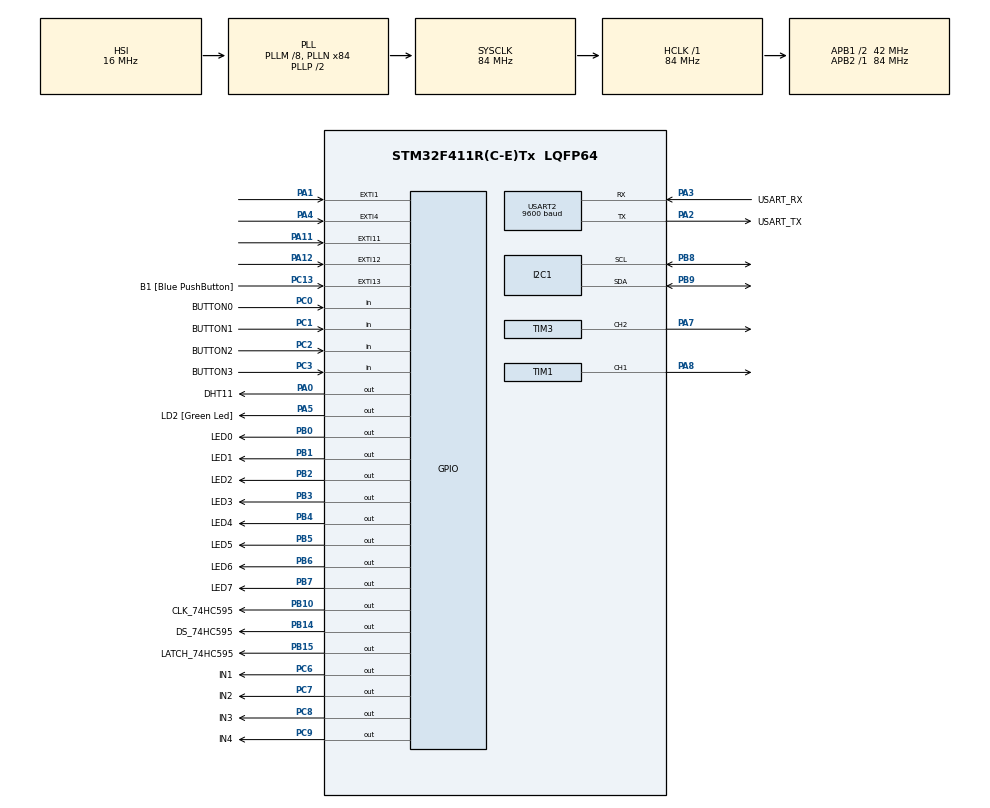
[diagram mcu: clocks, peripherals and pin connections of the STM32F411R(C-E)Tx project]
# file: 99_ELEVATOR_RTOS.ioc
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FREERTOS.Mutexes01=myMutex01,Dynamic,NULL
FREERTOS.Tasks01=defaultTask,24,128,StartDefaultTask,Default,NULL,Dynamic,NULL,NULL;myTask01,8,128,StartTask01,Default,NULL,Dynamic,NULL,NULL;myTask02,8,128,StartTask02,Default,NULL,Dynamic,NULL,NULL
FREERTOS.configUSE_NEWLIB_REENTRANT=1
Mcu.Family=STM32F4
Mcu.Name=STM32F411R(C-E)Tx
Mcu.Package=LQFP64
NVIC.EXTI15_10_IRQn=true\:5\:0\:false\:false\:true\:true\:true\:true
NVIC.EXTI1_IRQn=true\:5\:0\:false\:false\:true\:true\:true\:true
NVIC.EXTI4_IRQn=true\:5\:0\:false\:false\:true\:true\:true\:true
NVIC.PriorityGroup=NVIC_PRIORITYGROUP_4
NVIC.TIM1_TRG_COM_TIM11_IRQn=true\:5\:0\:false\:false\:true\:false\:false\:true
NVIC.TIM1_UP_TIM10_IRQn=true\:5\:0\:false\:false\:true\:true\:true\:true
NVIC.TimeBase=TIM1_TRG_COM_TIM11_IRQn
NVIC.TimeBaseIP=TIM11
NVIC.USART2_IRQn=true\:5\:0\:false\:false\:true\:true\:true\:true
PA0-WKUP.GPIO_Label=DHT11
PA0-WKUP.Signal=GPIO_Output
PA1.Signal=GPXTI1
PA11.Signal=GPXTI11
PA12.Signal=GPXTI12
PA13.GPIO_Label=TMS
PA13.Mode=Serial_Wire
PA13.Signal=SYS_JTMS-SWDIO
PA14.GPIO_Label=TCK
PA14.Mode=Serial_Wire
PA14.Signal=SYS_JTCK-SWCLK
PA2.GPIO_Label=USART_TX
PA2.Mode=Asynchronous
PA2.Signal=USART2_TX
PA3.GPIO_Label=USART_RX
PA3.Mode=Asynchronous
PA3.Signal=USART2_RX
PA4.Signal=GPXTI4
PA5.GPIO_Label=LD2 [Green Led]
PA5.Signal=GPIO_Output
PA7.Signal=S_TIM3_CH2
PA8.Signal=S_TIM1_CH1
PB0.GPIO_Label=LED0
PB0.Signal=GPIO_Output
PB1.GPIO_Label=LED1
PB1.Signal=GPIO_Output
PB10.GPIO_Label=CLK_74HC595
PB10.Signal=GPIO_Output
PB14.GPIO_Label=DS_74HC595
PB14.Signal=GPIO_Output
PB15.GPIO_Label=LATCH_74HC595
PB15.Signal=GPIO_Output
PB2.GPIO_Label=LED2
PB2.Signal=GPIO_Output
PB3.GPIO_Label=LED3
PB3.Signal=GPIO_Output
PB4.GPIO_Label=LED4
PB4.Signal=GPIO_Output
PB5.GPIO_Label=LED5
PB5.Signal=GPIO_Output
PB6.GPIO_Label=LED6
PB6.Signal=GPIO_Output
PB7.GPIO_Label=LED7
PB7.Signal=GPIO_Output
PB8.Mode=I2C
PB8.Signal=I2C1_SCL
PB9.Mode=I2C
PB9.Signal=I2C1_SDA
PC0.GPIO_Label=BUTTON0
PC0.Signal=GPIO_Input
PC1.GPIO_Label=BUTTON1
PC1.Signal=GPIO_Input
PC13-ANTI_TAMP.GPIO_Label=B1 [Blue PushButton]
PC13-ANTI_TAMP.GPIO_ModeDefaultEXTI=GPIO_MODE_IT_FALLING
PC13-ANTI_TAMP.Signal=GPXTI13
PC14-OSC32_IN.Mode=LSE-External-Oscillator
PC14-OSC32_IN.Signal=RCC_OSC32_IN
PC15-OSC32_OUT.Mode=LSE-External-Oscillator
PC15-OSC32_OUT.Signal=RCC_OSC32_OUT
PC2.GPIO_Label=BUTTON2
PC2.Signal=GPIO_Input
PC3.GPIO_Label=BUTTON3
PC3.Signal=GPIO_Input
PC6.GPIO_Label=IN1
PC6.Signal=GPIO_Output
PC7.GPIO_Label=IN2
PC7.Signal=GPIO_Output
PC8.GPIO_Label=IN3
PC8.Signal=GPIO_Output
PC9.GPIO_Label=IN4
PC9.Signal=GPIO_Output
PH0\ -\ OSC_IN.Mode=HSE-External-Clock-Source
PH0\ -\ OSC_IN.Signal=RCC_OSC_IN
PH1\ -\ OSC_OUT.Mode=HSE-External-Clock-Source
PH1\ -\ OSC_OUT.Signal=RCC_OSC_OUT
ProjectManager.HeapSize=0x200
ProjectManager.StackSize=0x400
ProjectManager.TargetToolchain=STM32CubeIDE
RCC.48MHZClocksFreq_Value=42000000
RCC.AHBFreq_Value=84000000
RCC.APB1CLKDivider=RCC_HCLK_DIV2
RCC.APB1Freq_Value=42000000
RCC.APB1TimFreq_Value=84000000
RCC.APB2Freq_Value=84000000
RCC.APB2TimFreq_Value=84000000
RCC.CortexFreq_Value=84000000
RCC.FLatency-AdvancedSettings=FLASH_LATENCY_2
RCC.HCLKFreq_Value=84000000
RCC.HSE_VALUE=8000000
RCC.HSI_VALUE=16000000
RCC.PLLM=8
RCC.PLLN=84
RCC.SYSCLKFreq_VALUE=84000000
RCC.SYSCLKSource=RCC_SYSCLKSOURCE_PLLCLK
RCC.VCOOutputFreq_Value=168000000
RTC.Date=8
RTC.Hours=14
RTC.Minutes=38
RTC.Month=RTC_MONTH_OCTOBER
RTC.WeekDay=RTC_WEEKDAY_TUESDAY
SH.S_TIM1_CH1.0=TIM1_CH1,PWM Generation1 CH1
SH.S_TIM3_CH2.0=TIM3_CH2,PWM Generation2 CH2
TIM1.Channel-PWM\ Generation1\ CH1=TIM_CHANNEL_1
TIM1.Period=400-1
TIM1.Prescaler=52.5-1
TIM1.Pulse-PWM\ Generation1\ CH1=200-1
TIM10.Period=1000-1
TIM10.Prescaler=84-1
TIM2.Prescaler=84-1
TIM3.Channel-PWM\ Generation2\ CH2=TIM_CHANNEL_2
TIM3.Period=1000-1
TIM3.Prescaler=1680-1
USART2.BaudRate=9600
USART2.VirtualMode=VM_ASYNC
VP_FREERTOS_VS_CMSIS_V2.Mode=CMSIS_V2
VP_RTC_VS_RTC_Activate.Mode=RTC_Enabled
VP_RTC_VS_RTC_Calendar.Mode=RTC_Calendar
VP_SYS_VS_tim11.Mode=TIM11
VP_TIM10_VS_ClockSourceINT.Mode=Enable_Timer
VP_TIM1_VS_ClockSourceINT.Mode=Internal
VP_TIM2_VS_ClockSourceINT.Mode=Internal
VP_TIM3_VS_ClockSourceINT.Mode=Internal
board=NUCLEO-F411RE

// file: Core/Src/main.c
/* USER CODE BEGIN Header */
/**
  ******************************************************************************
  * @file           : main.c
  * @brief          : Main program body
  ******************************************************************************
  * @attention
  *
  * <h2><center>&copy; Copyright (c) 2024 STMicroelectronics.
  * All rights reserved.</center></h2>
  *
  * This software component is licensed by ST under BSD 3-Clause license,
  * the "License"; You may not use this file except in compliance with the
  * License. You may obtain a copy of the License at:
  *                        opensource.org/licenses/BSD-3-Clause
  *
  ******************************************************************************
  */
/* USER CODE END Header */
#include "main.h"
#include "cmsis_os.h"

I2C_HandleTypeDef hi2c1;

RTC_HandleTypeDef hrtc;

TIM_HandleTypeDef htim1;
TIM_HandleTypeDef htim2;
TIM_HandleTypeDef htim3;
TIM_HandleTypeDef htim10;

UART_HandleTypeDef huart2;

/* Definitions for defaultTask */
osThreadId_t defaultTaskHandle;
const osThreadAttr_t defaultTask_attributes = {
  .name = "defaultTask",
  .stack_size = 128 * 4,
  .priority = (osPriority_t) osPriorityNormal,
};
/* Definitions for myTask01 */
osThreadId_t myTask01Handle;
const osThreadAttr_t myTask01_attributes = {
  .name = "myTask01",
  .stack_size = 128 * 4,
  .priority = (osPriority_t) osPriorityLow,
};
/* Definitions for myTask02 */
osThreadId_t myTask02Handle;
const osThreadAttr_t myTask02_attributes = {
  .name = "myTask02",
  .stack_size = 128 * 4,
  .priority = (osPriority_t) osPriorityLow,
};
/* Definitions for myMutex01 */
osMutexId_t myMutex01Handle;
const osMutexAttr_t myMutex01_attributes = {
  .name = "myMutex01"
};
/* USER CODE BEGIN PV */
volatile int TIM10_1ms_counter = 0;  // ADD_PSJ_0930
volatile int TIM10_1ms_counter1 = 0;
volatile int TIM10_elevator_counter = 0;
volatile int TIM10_servomotor_counter = 0;
uint8_t rx_data;
/* USER CODE END PV */

void SystemClock_Config(void);
static void MX_GPIO_Init(void);
static void MX_USART2_UART_Init(void);
static void MX_TIM10_Init(void);
static void MX_TIM2_Init(void);
static void MX_RTC_Init(void);
static void MX_I2C1_Init(void);
static void MX_TIM3_Init(void);
static void MX_TIM1_Init(void);
void StartDefaultTask(void *argument);
void StartTask01(void *argument);
void StartTask02(void *argument);

/* USER CODE BEGIN PFP */
extern void led_main(void);
extern void ledbar0_toggle(void);
extern void button_check(void);
extern void pc_command_processing(void);
extern void delay_us(unsigned int us);
//extern void DHT11_main(void);
extern void DHT11_processing(void);
extern void DHT11_Init(void);
extern void get_rtc_date_time(void);
//extern void i2c_lcd_main(void);
extern void i2c_lcd_init(void);
extern void dotmatrix_main_test();
extern int dotmatrix_main(void);
extern void init_dotmatrix(void);
extern int dotmatrix_main_func(void);
extern void init_arrow_up(void);
extern void init_arrow_down(void);
extern void arrow_display(void);
extern void stepmotor_main(void);
extern void stepmotor_forward(void);
extern void arrow_display_stepmotor(void);
extern void servomotor_main(void);
extern void servo_motor_control(void);
extern void buzzer_main();
extern void get_rtc_date(void);
extern void get_rtc_time(void);
extern void select_floor(void);
extern void init_floor_select(int size);
extern void elevator_door_control(void);
extern void close_the_door(void);
extern void lcd_floor(void);
extern void lcd_floor_check(void);
extern void i2c_test_code(void);
//extern void playSong();
/* USER CODE END PFP */

/* USER CODE BEGIN 0 */
//------------ printf start -----------------------
#ifdef __GNUC__    // Add for printf
/* With GCC, small printf (option LD Linker->Libraries->Small printf
   set to 'Yes') calls __io_putchar() */
#define PUTCHAR_PROTOTYPE int __io_putchar(int ch)
#else
#define PUTCHAR_PROTOTYPE int fputc(int ch, FILE *f)
#endif /* __GNUC__ */
/**
  * @brief  Retargets the C library printf function to the USART.
  * @param  None
  * @retval None
  */
PUTCHAR_PROTOTYPE   // Add for printf
{
  /* Place your implementation of fputc here */
  /* e.g. write a character to the USART2 and Loop until the end of transmission */
  HAL_UART_Transmit(&huart2, (uint8_t *)&ch, 1, 0xFFFF);

  return ch;
}
//-------------------- printf end --------------------
/* USER CODE END 0 */

int main(void)
{

  /* MCU Configuration--------------------------------------------------------*/

  /* Reset of all peripherals, Initializes the Flash interface and the Systick. */
  HAL_Init();

  /* Configure the system clock */
  SystemClock_Config();

  /* Initialize all configured peripherals */
  MX_GPIO_Init();
  MX_USART2_UART_Init();
  MX_TIM10_Init();
  MX_TIM2_Init();
  MX_RTC_Init();
  MX_I2C1_Init();
  MX_TIM3_Init();
  MX_TIM1_Init();
  /* USER CODE BEGIN 2 */
  HAL_TIM_Base_Start_IT(&htim10); // ADD_0930
  HAL_TIM_Base_Start_IT(&htim2); // ADD_0930
  HAL_TIM_Base_Start_IT(&htim1); // ADD_0930
  HAL_TIM_PWM_Start(&htim3, TIM_CHANNEL_2); // Servo motor ADD_1017
  HAL_UART_Receive_IT(&huart2, &rx_data, 1);
  HAL_TIM_PWM_Start(&htim3, TIM_CHANNEL_1); // Servo motor ADD_1017
printf("HAL_TIM_Base_Start!!!!!\n");
//playSong();
//i2c_test_code();
//buzzer_main();
close_the_door();
init_arrow_up();
init_arrow_down();
//reset_floor_select();
//stepmotor_main();
//DHT11_Init();
i2c_lcd_init();
//init_dotmatrix();
//dotmatrix_main();
//i2c_lcd_main(); // for checking LCD operation temporary.
//led_main(); // for checking LED operation temporary.
//DHT11_main(); // for checking DHT11 operation temporary.
//dotmatrix_main_test();

  /* USER CODE END 2 */

  /* Init scheduler */
  osKernelInitialize();
  /* Create the mutex(es) */
  /* creation of myMutex01 */
  myMutex01Handle = osMutexNew(&myMutex01_attributes);

  /* Create the thread(s) */
  /* creation of defaultTask */
  defaultTaskHandle = osThreadNew(StartDefaultTask, NULL, &defaultTask_attributes);

  /* creation of myTask01 */
  myTask01Handle = osThreadNew(StartTask01, NULL, &myTask01_attributes);

  /* creation of myTask02 */
  myTask02Handle = osThreadNew(StartTask02, NULL, &myTask02_attributes);

  /* Start scheduler */
  osKernelStart();

  /* We should never get here as control is now taken by the scheduler */
  /* Infinite loop */
  /* USER CODE BEGIN WHILE */
  while (1)
  {
	  HAL_GPIO_TogglePin(GPIOA, GPIO_PIN_5); //Ctrl + Space
	  HAL_Delay(100);
    /* USER CODE END WHILE */

  }
}

void SystemClock_Config(void)
{
  RCC_OscInitTypeDef RCC_OscInitStruct = {0};
  RCC_ClkInitTypeDef RCC_ClkInitStruct = {0};

  /** Configure the main internal regulator output voltage
  */
  __HAL_RCC_PWR_CLK_ENABLE();
  __HAL_PWR_VOLTAGESCALING_CONFIG(PWR_REGULATOR_VOLTAGE_SCALE1);
  /** Initializes the RCC Oscillators according to the specified parameters
  * in the RCC_OscInitTypeDef structure.
  */
  RCC_OscInitStruct.OscillatorType = RCC_OSCILLATORTYPE_HSI|RCC_OSCILLATORTYPE_LSI;
  RCC_OscInitStruct.HSIState = RCC_HSI_ON;
  RCC_OscInitStruct.HSICalibrationValue = RCC_HSICALIBRATION_DEFAULT;
  RCC_OscInitStruct.LSIState = RCC_LSI_ON;
  RCC_OscInitStruct.PLL.PLLState = RCC_PLL_ON;
  RCC_OscInitStruct.PLL.PLLSource = RCC_PLLSOURCE_HSI;
  RCC_OscInitStruct.PLL.PLLM = 8;
  RCC_OscInitStruct.PLL.PLLN = 84;
  RCC_OscInitStruct.PLL.PLLP = RCC_PLLP_DIV2;
  RCC_OscInitStruct.PLL.PLLQ = 4;
  if (HAL_RCC_OscConfig(&RCC_OscInitStruct) != HAL_OK)
  {
    Error_Handler();
  }
  /** Initializes the CPU, AHB and APB buses clocks
  */
  RCC_ClkInitStruct.ClockType = RCC_CLOCKTYPE_HCLK|RCC_CLOCKTYPE_SYSCLK
                              |RCC_CLOCKTYPE_PCLK1|RCC_CLOCKTYPE_PCLK2;
  RCC_ClkInitStruct.SYSCLKSource = RCC_SYSCLKSOURCE_PLLCLK;
  RCC_ClkInitStruct.AHBCLKDivider = RCC_SYSCLK_DIV1;
  RCC_ClkInitStruct.APB1CLKDivider = RCC_HCLK_DIV2;
  RCC_ClkInitStruct.APB2CLKDivider = RCC_HCLK_DIV1;

  if (HAL_RCC_ClockConfig(&RCC_ClkInitStruct, FLASH_LATENCY_2) != HAL_OK)
  {
    Error_Handler();
  }
}

static void MX_I2C1_Init(void)
{

  hi2c1.Instance = I2C1;
  hi2c1.Init.ClockSpeed = 100000;
  hi2c1.Init.DutyCycle = I2C_DUTYCYCLE_2;
  hi2c1.Init.OwnAddress1 = 0;
  hi2c1.Init.AddressingMode = I2C_ADDRESSINGMODE_7BIT;
  hi2c1.Init.DualAddressMode = I2C_DUALADDRESS_DISABLE;
  hi2c1.Init.OwnAddress2 = 0;
  hi2c1.Init.GeneralCallMode = I2C_GENERALCALL_DISABLE;
  hi2c1.Init.NoStretchMode = I2C_NOSTRETCH_DISABLE;
  if (HAL_I2C_Init(&hi2c1) != HAL_OK)
  {
    Error_Handler();
  }

}

static void MX_RTC_Init(void)
{

  RTC_TimeTypeDef sTime = {0};
  RTC_DateTypeDef sDate = {0};

  /** Initialize RTC Only
  */
  hrtc.Instance = RTC;
  hrtc.Init.HourFormat = RTC_HOURFORMAT_24;
  hrtc.Init.AsynchPrediv = 127;
  hrtc.Init.SynchPrediv = 255;
  hrtc.Init.OutPut = RTC_OUTPUT_DISABLE;
  hrtc.Init.OutPutPolarity = RTC_OUTPUT_POLARITY_HIGH;
  hrtc.Init.OutPutType = RTC_OUTPUT_TYPE_OPENDRAIN;
  if (HAL_RTC_Init(&hrtc) != HAL_OK)
  {
    Error_Handler();
  }

  /** Initialize RTC and set the Time and Date
  */
  sTime.Hours = 0x14;
  sTime.Minutes = 0x38;
  sTime.Seconds = 0x0;
  sTime.DayLightSaving = RTC_DAYLIGHTSAVING_NONE;
  sTime.StoreOperation = RTC_STOREOPERATION_RESET;
  if (HAL_RTC_SetTime(&hrtc, &sTime, RTC_FORMAT_BCD) != HAL_OK)
  {
    Error_Handler();
  }
  sDate.WeekDay = RTC_WEEKDAY_TUESDAY;
  sDate.Month = RTC_MONTH_OCTOBER;
  sDate.Date = 0x8;
  sDate.Year = 0x0;

  if (HAL_RTC_SetDate(&hrtc, &sDate, RTC_FORMAT_BCD) != HAL_OK)
  {
    Error_Handler();
  }

}

static void MX_TIM1_Init(void)
{

  TIM_ClockConfigTypeDef sClockSourceConfig = {0};
  TIM_MasterConfigTypeDef sMasterConfig = {0};
  TIM_OC_InitTypeDef sConfigOC = {0};
  TIM_BreakDeadTimeConfigTypeDef sBreakDeadTimeConfig = {0};

  htim1.Instance = TIM1;
  htim1.Init.Prescaler = 52.5-1;
  htim1.Init.CounterMode = TIM_COUNTERMODE_UP;
  htim1.Init.Period = 400-1;
  htim1.Init.ClockDivision = TIM_CLOCKDIVISION_DIV1;
  htim1.Init.RepetitionCounter = 0;
  htim1.Init.AutoReloadPreload = TIM_AUTORELOAD_PRELOAD_DISABLE;
  if (HAL_TIM_Base_Init(&htim1) != HAL_OK)
  {
    Error_Handler();
  }
  sClockSourceConfig.ClockSource = TIM_CLOCKSOURCE_INTERNAL;
  if (HAL_TIM_ConfigClockSource(&htim1, &sClockSourceConfig) != HAL_OK)
  {
    Error_Handler();
  }
  if (HAL_TIM_PWM_Init(&htim1) != HAL_OK)
  {
    Error_Handler();
  }
  sMasterConfig.MasterOutputTrigger = TIM_TRGO_RESET;
  sMasterConfig.MasterSlaveMode = TIM_MASTERSLAVEMODE_DISABLE;
  if (HAL_TIMEx_MasterConfigSynchronization(&htim1, &sMasterConfig) != HAL_OK)
  {
    Error_Handler();
  }
  sConfigOC.OCMode = TIM_OCMODE_PWM1;
  sConfigOC.Pulse = 200-1;
  sConfigOC.OCPolarity = TIM_OCPOLARITY_HIGH;
  sConfigOC.OCNPolarity = TIM_OCNPOLARITY_HIGH;
  sConfigOC.OCFastMode = TIM_OCFAST_DISABLE;
  sConfigOC.OCIdleState = TIM_OCIDLESTATE_RESET;
  sConfigOC.OCNIdleState = TIM_OCNIDLESTATE_RESET;
  if (HAL_TIM_PWM_ConfigChannel(&htim1, &sConfigOC, TIM_CHANNEL_1) != HAL_OK)
  {
    Error_Handler();
  }
  sBreakDeadTimeConfig.OffStateRunMode = TIM_OSSR_DISABLE;
  sBreakDeadTimeConfig.OffStateIDLEMode = TIM_OSSI_DISABLE;
  sBreakDeadTimeConfig.LockLevel = TIM_LOCKLEVEL_OFF;
  sBreakDeadTimeConfig.DeadTime = 0;
  sBreakDeadTimeConfig.BreakState = TIM_BREAK_DISABLE;
  sBreakDeadTimeConfig.BreakPolarity = TIM_BREAKPOLARITY_HIGH;
  sBreakDeadTimeConfig.AutomaticOutput = TIM_AUTOMATICOUTPUT_DISABLE;
  if (HAL_TIMEx_ConfigBreakDeadTime(&htim1, &sBreakDeadTimeConfig) != HAL_OK)
  {
    Error_Handler();
  }
  HAL_TIM_MspPostInit(&htim1);

}

static void MX_TIM2_Init(void)
{

  TIM_ClockConfigTypeDef sClockSourceConfig = {0};
  TIM_MasterConfigTypeDef sMasterConfig = {0};

  htim2.Instance = TIM2;
  htim2.Init.Prescaler = 84-1;
  htim2.Init.CounterMode = TIM_COUNTERMODE_UP;
  htim2.Init.Period = 4294967295;
  htim2.Init.ClockDivision = TIM_CLOCKDIVISION_DIV1;
  htim2.Init.AutoReloadPreload = TIM_AUTORELOAD_PRELOAD_DISABLE;
  if (HAL_TIM_Base_Init(&htim2) != HAL_OK)
  {
    Error_Handler();
  }
  sClockSourceConfig.ClockSource = TIM_CLOCKSOURCE_INTERNAL;
  if (HAL_TIM_ConfigClockSource(&htim2, &sClockSourceConfig) != HAL_OK)
  {
    Error_Handler();
  }
  sMasterConfig.MasterOutputTrigger = TIM_TRGO_RESET;
  sMasterConfig.MasterSlaveMode = TIM_MASTERSLAVEMODE_DISABLE;
  if (HAL_TIMEx_MasterConfigSynchronization(&htim2, &sMasterConfig) != HAL_OK)
  {
    Error_Handler();
  }

}

static void MX_TIM3_Init(void)
{

  TIM_ClockConfigTypeDef sClockSourceConfig = {0};
  TIM_MasterConfigTypeDef sMasterConfig = {0};
  TIM_OC_InitTypeDef sConfigOC = {0};

  htim3.Instance = TIM3;
  htim3.Init.Prescaler = 1680-1;
  htim3.Init.CounterMode = TIM_COUNTERMODE_UP;
  htim3.Init.Period = 1000-1;
  htim3.Init.ClockDivision = TIM_CLOCKDIVISION_DIV1;
  htim3.Init.AutoReloadPreload = TIM_AUTORELOAD_PRELOAD_DISABLE;
  if (HAL_TIM_Base_Init(&htim3) != HAL_OK)
  {
    Error_Handler();
  }
  sClockSourceConfig.ClockSource = TIM_CLOCKSOURCE_INTERNAL;
  if (HAL_TIM_ConfigClockSource(&htim3, &sClockSourceConfig) != HAL_OK)
  {
    Error_Handler();
  }
  if (HAL_TIM_PWM_Init(&htim3) != HAL_OK)
  {
    Error_Handler();
  }
  sMasterConfig.MasterOutputTrigger = TIM_TRGO_RESET;
  sMasterConfig.MasterSlaveMode = TIM_MASTERSLAVEMODE_DISABLE;
  if (HAL_TIMEx_MasterConfigSynchronization(&htim3, &sMasterConfig) != HAL_OK)
  {
    Error_Handler();
  }
  sConfigOC.OCMode = TIM_OCMODE_PWM1;
  sConfigOC.Pulse = 0;
  sConfigOC.OCPolarity = TIM_OCPOLARITY_HIGH;
  sConfigOC.OCFastMode = TIM_OCFAST_DISABLE;
  if (HAL_TIM_PWM_ConfigChannel(&htim3, &sConfigOC, TIM_CHANNEL_2) != HAL_OK)
  {
    Error_Handler();
  }
  HAL_TIM_MspPostInit(&htim3);

}

static void MX_TIM10_Init(void)
{

  htim10.Instance = TIM10;
  htim10.Init.Prescaler = 84-1;
  htim10.Init.CounterMode = TIM_COUNTERMODE_UP;
  htim10.Init.Period = 1000-1;
  htim10.Init.ClockDivision = TIM_CLOCKDIVISION_DIV1;
  htim10.Init.AutoReloadPreload = TIM_AUTORELOAD_PRELOAD_DISABLE;
  if (HAL_TIM_Base_Init(&htim10) != HAL_OK)
  {
    Error_Handler();
  }

}

static void MX_USART2_UART_Init(void)
{

  huart2.Instance = USART2;
  huart2.Init.BaudRate = 9600;
  huart2.Init.WordLength = UART_WORDLENGTH_8B;
  huart2.Init.StopBits = UART_STOPBITS_1;
  huart2.Init.Parity = UART_PARITY_NONE;
  huart2.Init.Mode = UART_MODE_TX_RX;
  huart2.Init.HwFlowCtl = UART_HWCONTROL_NONE;
  huart2.Init.OverSampling = UART_OVERSAMPLING_16;
  if (HAL_UART_Init(&huart2) != HAL_OK)
  {
    Error_Handler();
  }

}

static void MX_GPIO_Init(void)
{
  GPIO_InitTypeDef GPIO_InitStruct = {0};

  /* GPIO Ports Clock Enable */
  __HAL_RCC_GPIOC_CLK_ENABLE();
  __HAL_RCC_GPIOH_CLK_ENABLE();
  __HAL_RCC_GPIOA_CLK_ENABLE();
  __HAL_RCC_GPIOB_CLK_ENABLE();

  /*Configure GPIO pin Output Level */
  HAL_GPIO_WritePin(GPIOA, DHT11_Pin|LD2_Pin, GPIO_PIN_RESET);

  /*Configure GPIO pin Output Level */
  HAL_GPIO_WritePin(GPIOB, LED0_Pin|LED1_Pin|LED2_Pin|CLK_74HC595_Pin
                          |DS_74HC595_Pin|LATCH_74HC595_Pin|LED3_Pin|LED4_Pin
                          |LED5_Pin|LED6_Pin|LED7_Pin, GPIO_PIN_RESET);

  /*Configure GPIO pin Output Level */
  HAL_GPIO_WritePin(GPIOC, IN1_Pin|IN2_Pin|IN3_Pin|IN4_Pin, GPIO_PIN_RESET);

  /*Configure GPIO pin : B1_Pin */
  GPIO_InitStruct.Pin = B1_Pin;
  GPIO_InitStruct.Mode = GPIO_MODE_IT_FALLING;
  GPIO_InitStruct.Pull = GPIO_NOPULL;
  HAL_GPIO_Init(B1_GPIO_Port, &GPIO_InitStruct);

  /*Configure GPIO pins : BUTTON0_Pin BUTTON1_Pin BUTTON2_Pin BUTTON3_Pin */
  GPIO_InitStruct.Pin = BUTTON0_Pin|BUTTON1_Pin|BUTTON2_Pin|BUTTON3_Pin;
  GPIO_InitStruct.Mode = GPIO_MODE_INPUT;
  GPIO_InitStruct.Pull = GPIO_NOPULL;
  HAL_GPIO_Init(GPIOC, &GPIO_InitStruct);

  /*Configure GPIO pins : DHT11_Pin LD2_Pin */
  GPIO_InitStruct.Pin = DHT11_Pin|LD2_Pin;
  GPIO_InitStruct.Mode = GPIO_MODE_OUTPUT_PP;
  GPIO_InitStruct.Pull = GPIO_NOPULL;
  GPIO_InitStruct.Speed = GPIO_SPEED_FREQ_LOW;
  HAL_GPIO_Init(GPIOA, &GPIO_InitStruct);

  /*Configure GPIO pins : PA1 PA4 PA11 PA12 */
  GPIO_InitStruct.Pin = GPIO_PIN_1|GPIO_PIN_4|GPIO_PIN_11|GPIO_PIN_12;
  GPIO_InitStruct.Mode = GPIO_MODE_IT_RISING;
  GPIO_InitStruct.Pull = GPIO_NOPULL;
  HAL_GPIO_Init(GPIOA, &GPIO_InitStruct);

  /*Configure GPIO pins : LED0_Pin LED1_Pin LED2_Pin CLK_74HC595_Pin
                           DS_74HC595_Pin LATCH_74HC595_Pin LED3_Pin LED4_Pin
                           LED5_Pin LED6_Pin LED7_Pin */
  GPIO_InitStruct.Pin = LED0_Pin|LED1_Pin|LED2_Pin|CLK_74HC595_Pin
                          |DS_74HC595_Pin|LATCH_74HC595_Pin|LED3_Pin|LED4_Pin
                          |LED5_Pin|LED6_Pin|LED7_Pin;
  GPIO_InitStruct.Mode = GPIO_MODE_OUTPUT_PP;
  GPIO_InitStruct.Pull = GPIO_NOPULL;
  GPIO_InitStruct.Speed = GPIO_SPEED_FREQ_LOW;
  HAL_GPIO_Init(GPIOB, &GPIO_InitStruct);

  /*Configure GPIO pins : IN1_Pin IN2_Pin IN3_Pin IN4_Pin */
  GPIO_InitStruct.Pin = IN1_Pin|IN2_Pin|IN3_Pin|IN4_Pin;
  GPIO_InitStruct.Mode = GPIO_MODE_OUTPUT_PP;
  GPIO_InitStruct.Pull = GPIO_NOPULL;
  GPIO_InitStruct.Speed = GPIO_SPEED_FREQ_LOW;
  HAL_GPIO_Init(GPIOC, &GPIO_InitStruct);

  /* EXTI interrupt init*/
  HAL_NVIC_SetPriority(EXTI1_IRQn, 5, 0);
  HAL_NVIC_EnableIRQ(EXTI1_IRQn);

  HAL_NVIC_SetPriority(EXTI4_IRQn, 5, 0);
  HAL_NVIC_EnableIRQ(EXTI4_IRQn);

  HAL_NVIC_SetPriority(EXTI15_10_IRQn, 5, 0);
  HAL_NVIC_EnableIRQ(EXTI15_10_IRQn);

}

void StartDefaultTask(void *argument)
{
  /* USER CODE BEGIN 5 */
  /* Infinite loop */
  for(;;)
  {
	  //stepmotor_main();
	  //servomotor_main();
	//button_check();

	//DHT11_processing();
    osDelay(1);
  }
  /* USER CODE END 5 */
}

void StartTask01(void *argument)
{
  /* USER CODE BEGIN StartTask01 */
  /* Infinite loop */
  for(;;)
  {
#if 1
	  //arrow_display_stepmotor();
	  //elevator_door_control();

	  //dotmatrix_main_func();
	  //get_rtc_date_time();
		if (osMutexAcquire(myMutex01Handle, 10000) == osOK) // Lock
		{
			// Lock state
			lcd_floor();

			osMutexRelease(myMutex01Handle); // unlock
			// switching other task
		}
		select_floor();
#else
	  //ledbar0_toggle();
	  HAL_GPIO_TogglePin(GPIOA, GPIO_PIN_5);
	  delay_us(50000); // 50ms
#endif
	  osDelay(1);
  }
  /* USER CODE END StartTask01 */
}

void StartTask02(void *argument)
{
  /* USER CODE BEGIN StartTask02 */
  /* Infinite loop */
	for(;;)
	{
		if (osMutexWait(myMutex01Handle, 10000) == osOK) // Lock (Prevent the I2C LCD protocol from getting tangled)
		{
			// Lock state
			lcd_floor_check();

			osMutexRelease(myMutex01Handle); // unlock
			// switching other task
		}
		//servo_motor_control();

		arrow_display();
		//HAL_GPIO_TogglePin(GPIOA, GPIO_PIN_5); //Ctrl + Space
#if 1 // use timer/counter
		if( TIM10_1ms_counter >= 50)
		{
			HAL_GPIO_TogglePin(GPIOA, GPIO_PIN_5);
			TIM10_1ms_counter = 0;
		}
#endif
		//pc_command_processing();
		//led_main();
		osDelay(1);
	}
  /* USER CODE END StartTask02 */
}

void HAL_TIM_PeriodElapsedCallback(TIM_HandleTypeDef *htim)
{
  if (htim->Instance == TIM11) {
    HAL_IncTick();
  }
  /* USER CODE BEGIN Callback 1 */
  if (htim->Instance == TIM10) { // add PSJ 0930
      TIM10_1ms_counter++;
      TIM10_1ms_counter1++;
      TIM10_elevator_counter++;
      TIM10_servomotor_counter++;
   }
  /* USER CODE END Callback 1 */
}

void Error_Handler(void)
{
  __disable_irq();
  while (1)
  {
  }
}

/************************ (C) COPYRIGHT STMicroelectronics *****END OF FILE****/
